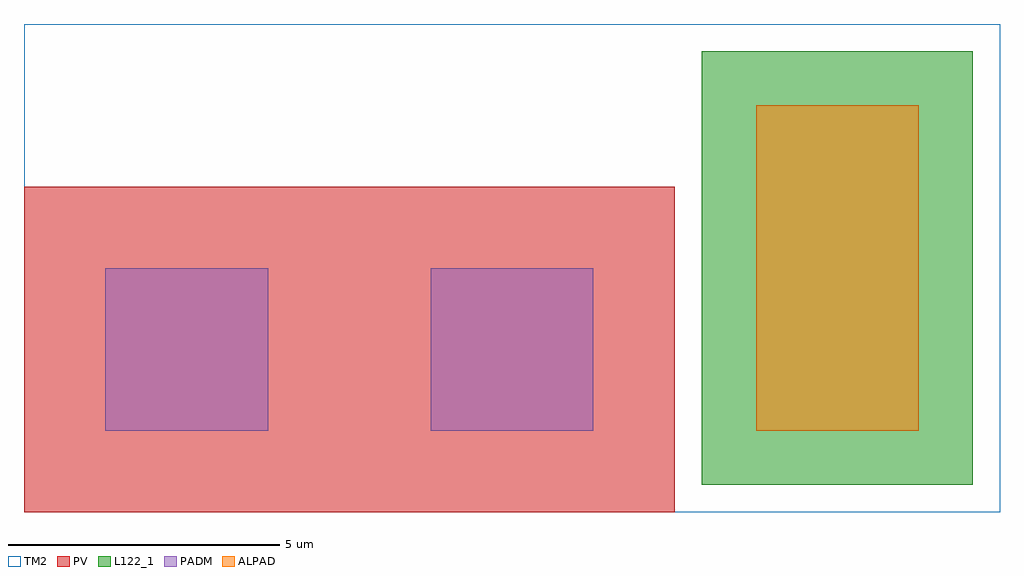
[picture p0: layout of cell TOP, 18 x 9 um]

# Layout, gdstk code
import gdstk
lib = gdstk.Library(unit=1e-6, precision=1e-09)
def R(c, l, rs):  # rectangles x0, y0, x1, y1
    for r in rs: c.add(gdstk.rectangle(r[:2], r[2:], *l))
TM2 = (103, 1)
PADM = (120, 1)
ALPAD = (121, 1)
L122_1 = (122, 1)
PV = (123, 1)

top = lib.new_cell('TOP')
R(top, TM2, [(-1.5,-1.5,16.5,7.5)])
R(top, PADM, [(0,0,3,3), (6,0,9,3)])
R(top, ALPAD, [(12,0,15,6)])
R(top, L122_1, [(11,-1,16,7)])
R(top, PV, [(-1.5,-1.5,10.5,4.5)])

lib.write_gds('TOP.gds')
